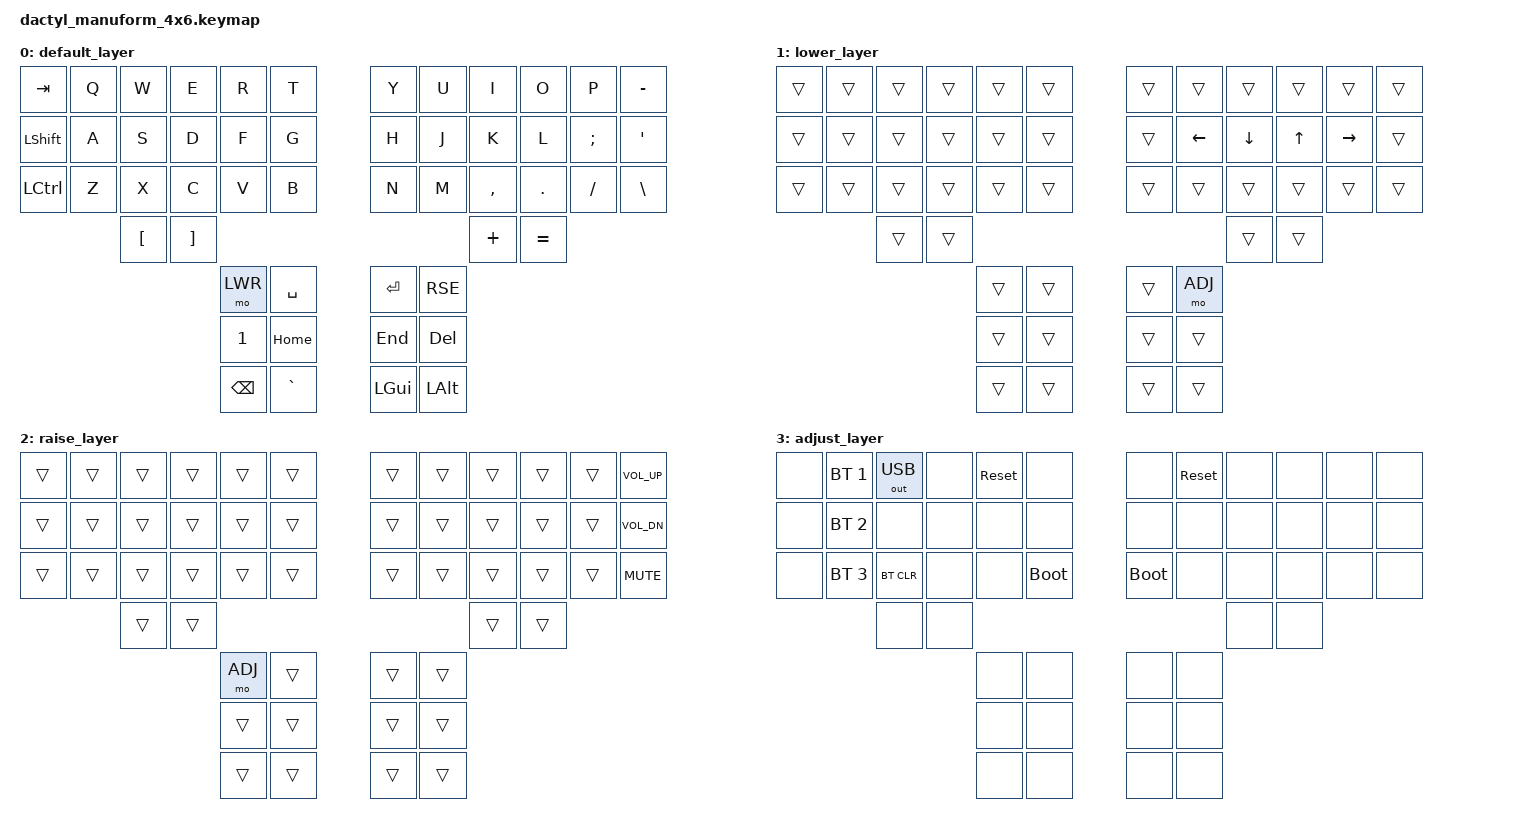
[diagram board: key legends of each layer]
#include <behaviors.dtsi>
#include <dt-bindings/zmk/keys.h>
#include <dt-bindings/zmk/bt.h>
#include <dt-bindings/zmk/outputs.h>

#define DEFAULT 0
#define LWR 1
#define RSE 2
#define ADJ 3

/ {
    keymap {
        compatible = "zmk,keymap";

        default_layer {
            bindings = <
                &kp TAB   &kp Q  &kp W  &kp E  &kp R  &kp T               &kp Y  &kp U  &kp I     &kp O   &kp P    &kp MINUS
                &kp LSHFT &kp A  &kp S  &kp D  &kp F  &kp G               &kp H  &kp J  &kp K     &kp L   &kp SEMI &kp SQT
                &kp LCTRL &kp Z  &kp X  &kp C  &kp V  &kp B               &kp N  &kp M  &kp COMMA &kp DOT &kp FSLH &kp BSLH
                                 &kp LBKT &kp RBKT                                      &kp PLUS &kp EQUAL
                                            &mo LWR  &kp SPACE            &kp RET  &kp RSE
                                            &kp N1   &kp HOME             &kp END  &kp DEL
                                            &kp BSPC &kp GRAVE            &kp LGUI &kp LALT
            >;
        };

        lower_layer {
            bindings = <
                &trans  &trans &trans &trans &trans &trans                &trans &trans   &trans   &trans &trans    &trans
                &trans  &trans &trans &trans &trans &trans                &trans &kp LEFT &kp DOWN &kp UP &kp RIGHT &trans
                &trans  &trans &trans &trans &trans &trans                &trans &trans   &trans   &trans &trans    &trans
                               &trans &trans                                              &trans &trans
                                             &trans &trans                &trans &mo ADJ
                                             &trans &trans                &trans &trans
                                             &trans &trans                &trans &trans
            >;
        };

        raise_layer {
            bindings = <
                &trans  &trans &trans &trans &trans &trans                &trans &trans &trans &trans &trans &kp K_VOL_UP
                &trans  &trans &trans &trans &trans &trans                &trans &trans &trans &trans &trans &kp K_VOL_DN
                &trans  &trans &trans &trans &trans &trans                &trans &trans &trans &trans &trans &kp K_MUTE
                               &trans &trans                                            &trans &trans
                                             &mo ADJ &trans               &trans &trans
                                             &trans  &trans               &trans &trans
                                             &trans  &trans               &trans &trans
            >;
        };

        adjust_layer {
            bindings = <
                &none &bt BT_SEL 1 &out OUT_USB &none &sys_reset &none            &none       &sys_reset &none &none &none &none
                &none &bt BT_SEL 2 &none        &none &none  &none            &none       &none  &none &none &none &none
                &none &bt BT_SEL 3 &bt BT_CLR   &none &none  &bootloader      &bootloader &none  &none &none &none &none
                                   &none        &none                                            &none &none
                                                      &none &none             &none &none
                                                      &none &none             &none &none
                                                      &none &none             &none &none
            >;
        };
    };
};
